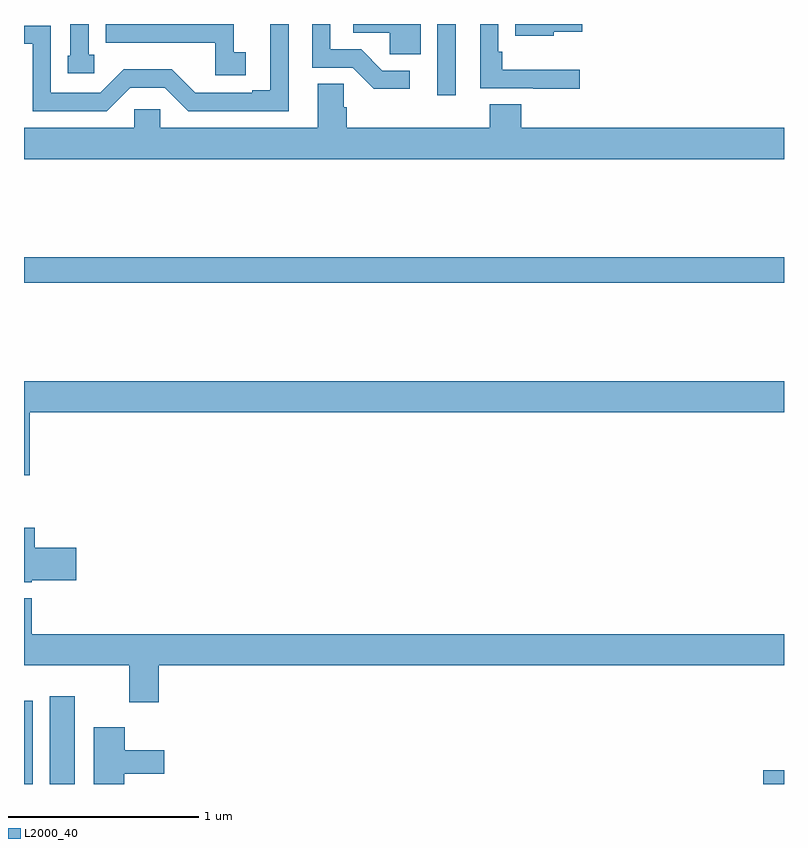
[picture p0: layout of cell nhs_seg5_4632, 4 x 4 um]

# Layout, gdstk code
import gdstk
lib = gdstk.Library(unit=1e-6, precision=1e-09)
def R(c, l, rs):  # rectangles x0, y0, x1, y1
    for r in rs: c.add(gdstk.rectangle(r[:2], r[2:], *l))
def P(c, l, *ps):  # polygons
    for p in ps: c.add(gdstk.Polygon(p, *l))
L2000_40 = (2000, 40)

nhs_seg5_4632 = lib.new_cell('nhs_seg5_4632')
R(nhs_seg5_4632, L2000_40, [(383,858.799,383.047,859.237), (383.135,858.799,383.266,859.261), (386.892,858.799,387,858.872), (383,861.436,387,861.572), (385.176,862.425,385.272,862.799)])
P(nhs_seg5_4632, L2000_40, [(385.924,862.558),(385.517,862.558),(385.517,862.654),(385.497,862.654),(385.497,862.799),(385.401,862.799),(385.401,862.461),(385.679,862.461),(385.679,862.457),(385.924,862.457)],
  [(385.788,862.757),(385.939,862.757),(385.939,862.799),(385.586,862.799),(385.586,862.736),(385.788,862.736)],
  [(383.37,862.638),(383.34,862.638),(383.34,862.799),(383.244,862.799),(383.244,862.632),(383.231,862.632),(383.231,862.539),(383.37,862.539)],
  [(385.03,862.554),(384.885,862.554),(384.774,862.665),(384.612,862.665),(384.612,862.799),(384.516,862.799),(384.516,862.569),(384.729,862.569),(384.842,862.457),(385.03,862.457)],
  [(385.087,862.799),(384.732,862.799),(384.732,862.754),(384.924,862.754),(384.924,862.64),(385.087,862.64)],
  [(384.166,862.65),(384.103,862.65),(384.103,862.799),(384.006,862.799),(384.006,862.797),(383.583,862.797),(383.583,862.799),(383.429,862.799),(383.429,862.701),(383.539,862.701),(383.539,862.7),(384.006,862.7),(384.006,862.53),(384.166,862.53)],
  [(383.559,862.464),(383.742,862.464),(383.865,862.341),(384.393,862.341),(384.393,862.799),(384.296,862.799),(384.296,862.45),(384.2,862.45),(384.2,862.437),(383.902,862.437),(383.778,862.561),(383.524,862.561),(383.4,862.437),(383.142,862.437),(383.142,862.791),(383,862.791),(383,862.695),(383.046,862.695),(383.046,862.341),(383.436,862.341)],
  [(387,862.252),(385.616,862.252),(385.616,862.376),(385.451,862.376),(385.451,862.252),(384.698,862.252),(384.698,862.361),(384.684,862.361),(384.684,862.484),(384.545,862.484),(384.545,862.252),(383.718,862.252),(383.718,862.35),(383.58,862.35),(383.58,862.252),(383,862.252),(383,862.088),(387,862.088)],
  [(383.03,860.756),(387,860.756),(387,860.92),(383,860.92),(383,860.424),(383.03,860.424)],
  [(383.04,859.871),(383.275,859.871),(383.275,860.042),(383.057,860.042),(383.057,860.149),(383,860.149),(383,859.862),(383.04,859.862)],
  [(383.708,859.424),(387,859.424),(387,859.588),(383.042,859.588),(383.042,859.777),(383,859.777),(383,859.424),(383.555,859.424),(383.555,859.23),(383.708,859.23)],
  [(383.528,858.854),(383.737,858.854),(383.737,858.976),(383.53,858.976),(383.53,859.099),(383.366,859.099),(383.366,858.799),(383.528,858.799)])

lib.write_gds('nhs_seg5_4632.gds')
